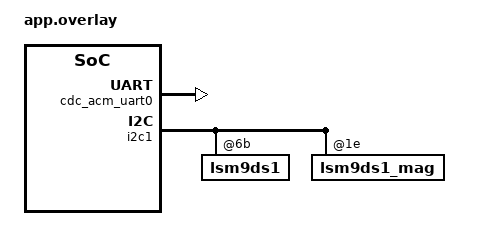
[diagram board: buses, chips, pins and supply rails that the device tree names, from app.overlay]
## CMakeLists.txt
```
cmake_minimum_required(VERSION 3.20.0)

find_package(Zephyr REQUIRED HINTS $ENV{ZEPHYR_BASE})
project(getSensorDataApp)

target_sources(app PRIVATE src/main.c)
```

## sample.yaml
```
sample:
  name: Console over CDC ACM serial
tests:
  sample.usbd.console:
    depends_on:
      - usbd
    tags: usb
    integration_platforms:
      - nrf52840dk/nrf52840
      - frdm_k64f
      - stm32f723e_disco
      - nucleo_f413zh
      - mimxrt685_evk/mimxrt685s/cm33
      - mimxrt1060_evk/mimxrt1062/qspi
    harness: console
    harness_config:
      fixture: fixture_usb_cdc
```

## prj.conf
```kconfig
CONFIG_SERIAL=y
CONFIG_CONSOLE=y
CONFIG_UART_CONSOLE=y
CONFIG_STDOUT_CONSOLE=y
CONFIG_UART_LINE_CTRL=y

CONFIG_USB_DEVICE_STACK_NEXT=y
CONFIG_CDC_ACM_SERIAL_INITIALIZE_AT_BOOT=y
CONFIG_CDC_ACM_SERIAL_PID=0x0004
CONFIG_CDC_ACM_SERIAL_PRODUCT_STRING="USBD console sample"
CONFIG_SENSOR=y
CONFIG_I2C=y
CONFIG_LSM9DS1=y
```

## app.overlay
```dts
/ {
	chosen {
		zephyr,console = &cdc_acm_uart0;
	};
};

&zephyr_udc0 {
	cdc_acm_uart0: cdc_acm_uart0 {
		compatible = "zephyr,cdc-acm-uart";
	};
};

&i2c1 {
    lsm9ds1: lsm9ds1@6b {
        status = "okay";
    };

    lsm9ds1_mag: lsm9ds1_mag@1e {
        status = "okay";
    };
};
```

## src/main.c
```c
#include <zephyr/kernel.h>
#include <zephyr/sys/printk.h>
#include <zephyr/drivers/uart.h>
#include <zephyr/device.h>
#include <zephyr/drivers/i2c.h>
#include <zephyr/drivers/gpio.h>

BUILD_ASSERT(DT_NODE_HAS_COMPAT(DT_CHOSEN(zephyr_console), zephyr_cdc_acm_uart),
	     "Console device is not ACM CDC UART device");

int main(void)
{
    //USB serial output
	const struct device *const dev = DEVICE_DT_GET(DT_CHOSEN(zephyr_console));

	uint32_t dtr = 0;

	while (!dtr) {
		uart_line_ctrl_get(dev, UART_LINE_CTRL_DTR, &dtr);
		k_sleep(K_MSEC(100));
	}

    //I2C
    const struct device *i2c = DEVICE_DT_GET(DT_NODELABEL(i2c1));

    if (!device_is_ready(i2c)) {
        printk("I2C not ready\n");
        return 0;
    }

    //LED
    static const struct gpio_dt_spec led = GPIO_DT_SPEC_GET(DT_ALIAS(led2), gpios);
    static const struct gpio_dt_spec ledRed = GPIO_DT_SPEC_GET(DT_ALIAS(led0), gpios);

    if (!device_is_ready(led.port) || !device_is_ready(ledRed.port)) {
        printk("LED not ready\n");
        return 0;
    }

    gpio_pin_configure_dt(&led, GPIO_OUTPUT_INACTIVE);
    gpio_pin_configure_dt(&ledRed, GPIO_OUTPUT_INACTIVE);

    //accel ON
    /* CTRL_REG6_XL (0x20) - accel enable */
    i2c_reg_write_byte(i2c, 0x6b, 0x20, 0x60);  
    // 0x60 = 119 Hz, enable X/Y/Z

    //gyro ON
    /* CTRL_REG1_G (0x10) - gyro enable */
    i2c_reg_write_byte(i2c, 0x6b, 0x10, 0x60);  
    

    //mag ON
    /* CTRL_REG1_M (0x20) - enable mag, high performance */
    i2c_reg_write_byte(i2c, 0x1E, 0x20, 0x70);

    /* CTRL_REG2_M (0x21) - ±4 gauss */
    i2c_reg_write_byte(i2c, 0x1E, 0x21, 0x00);

    /* CTRL_REG3_M (0x22) - continuous mode */
    i2c_reg_write_byte(i2c, 0x1E, 0x22, 0x00);


    k_sleep(K_MSEC(100));

    //accel
    uint8_t bufA[6];
    int16_t ax, ay, az;

    //mag
    uint8_t bufM[6];
    int16_t mx, my, mz;

    //gyro
    uint8_t bufG[6];
    int16_t gx, gy, gz;

    int32_t gx_fix = 0, gy_fix = 0, gz_fix = 0;

    gpio_pin_toggle_dt(&ledRed);

    //gyro calibration
    for (int i = 0; i < 1000; i++) {
        i2c_burst_read(i2c, 0x6b, 0x18, bufG, 6);

        gx = (int16_t)(bufG[1] << 8 | bufG[0]);
        gy = (int16_t)(bufG[3] << 8 | bufG[2]);
        gz = (int16_t)(bufG[5] << 8 | bufG[4]);

        gx_fix += gx;
        gy_fix += gy;
        gz_fix += gz;

        k_sleep(K_MSEC(5));
    }

    gx_fix = gx_fix / 1000;
    gy_fix = gy_fix / 1000;
    gz_fix = gz_fix / 1000;

    gpio_pin_toggle_dt(&ledRed);

    //read sensors data
	while (1) {
        gpio_pin_toggle_dt(&led);

        i2c_burst_read(i2c, 0x6b, 0x28, bufA, 6);

        ax = (int16_t)(bufA[1] << 8 | bufA[0]);
        ay = (int16_t)(bufA[3] << 8 | bufA[2]);
        az = (int16_t)(bufA[5] << 8 | bufA[4]);

        i2c_burst_read(i2c, 0x1E, 0x28, bufM, 6);

        mx = (int16_t)(bufM[1] << 8 | bufM[0]);
        my = (int16_t)(bufM[3] << 8 | bufM[2]);
        mz = (int16_t)(bufM[5] << 8 | bufM[4]);

        i2c_burst_read(i2c, 0x6b, 0x18, bufG, 6);

        gx = (int16_t)(bufG[1] << 8 | bufG[0]);
        gy = (int16_t)(bufG[3] << 8 | bufG[2]);
        gz = (int16_t)(bufG[5] << 8 | bufG[4]);

        printk("{\"acc\":{\"x\":%d,\"y\":%d,\"z\":%d},\"mag\":{\"x\":%d,\"y\":%d,\"z\":%d},\"gyro\":{\"x\":%d,\"y\":%d,\"z\":%d}}\n",
             ax, ay, az, mx, my, mz, gx - gx_fix, gy - gy_fix, gz - gz_fix);
        
        gpio_pin_toggle_dt(&led);

        k_sleep(K_MSEC(10)); //100Hz
	}
}
```
